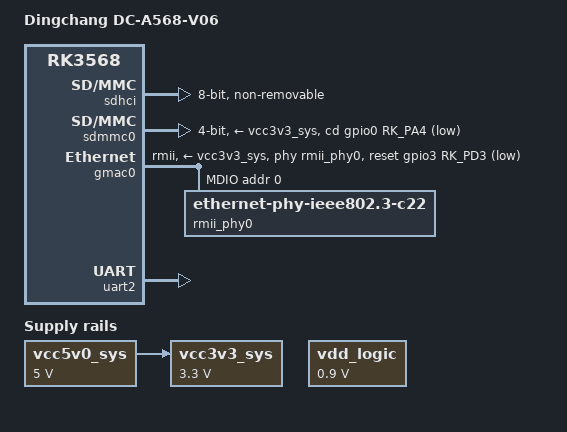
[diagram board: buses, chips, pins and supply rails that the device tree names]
// SPDX-License-Identifier: (GPL-2.0+ OR MIT)
/*
 * Device tree for DC-A568-V06 board
 * Dingchang Electronics RK3568 development board
 */

/dts-v1/;
#include <dt-bindings/gpio/gpio.h>
#include <dt-bindings/pinctrl/rockchip.h>
#include "rockchip/rk3568.dtsi"

/ {
	model = "Dingchang DC-A568-V06";
	compatible = "dingchang,dc-a568", "rockchip,rk3568";

	aliases {
		ethernet0 = &gmac0;
		mmc0 = &sdhci;
		mmc1 = &sdmmc0;
		serial2 = &uart2;
	};

	chosen {
		stdout-path = "serial2:1500000n8";
	};

	/* 5V power rail */
	vcc5v0_sys: vcc5v0-sys {
		compatible = "regulator-fixed";
		regulator-name = "vcc5v0_sys";
		regulator-always-on;
		regulator-boot-on;
		regulator-min-microvolt = <5000000>;
		regulator-max-microvolt = <5000000>;
	};

	/* 3.3V power rail */
	vcc3v3_sys: vcc3v3-sys {
		compatible = "regulator-fixed";
		regulator-name = "vcc3v3_sys";
		regulator-always-on;
		regulator-boot-on;
		regulator-min-microvolt = <3300000>;
		regulator-max-microvolt = <3300000>;
		vin-supply = <&vcc5v0_sys>;
	};

	/* Logic power rail (dummy for now) */
	vdd_logic: vdd-logic {
		compatible = "regulator-fixed";
		regulator-name = "vdd_logic";
		regulator-always-on;
		regulator-boot-on;
		regulator-min-microvolt = <900000>;
		regulator-max-microvolt = <900000>;
	};
};

/* eMMC */
&sdhci {
	bus-width = <8>;
	max-frequency = <200000000>;
	non-removable;
	pinctrl-names = "default";
	pinctrl-0 = <&emmc_bus8 &emmc_clk &emmc_cmd &emmc_datastrobe>;
	status = "okay";
};

/* SD card */
&sdmmc0 {
	bus-width = <4>;
	cap-sd-highspeed;
	cd-gpios = <&gpio0 RK_PA4 GPIO_ACTIVE_LOW>;
	disable-wp;
	pinctrl-names = "default";
	pinctrl-0 = <&sdmmc0_bus4 &sdmmc0_clk &sdmmc0_cmd &sdmmc0_det>;
	sd-uhs-sdr50;
	vmmc-supply = <&vcc3v3_sys>;
	status = "okay";
};

/* Ethernet - RMII mode on gmac0 */
&gmac0 {
	assigned-clocks = <&cru SCLK_GMAC0_RX_TX>, <&cru SCLK_GMAC0>, <&cru CLK_MAC0_OUT>;
	assigned-clock-parents = <&cru SCLK_GMAC0_RGMII_SPEED>;
	assigned-clock-rates = <50000000>, <50000000>, <25000000>;
	clock_in_out = "output";
	/* Override clocks to add clk_mac_ref for RMII */
	clocks = <&cru SCLK_GMAC0>, <&cru SCLK_GMAC0_RX_TX>,
		 <&cru SCLK_GMAC0_RX_TX>, <&cru SCLK_GMAC0>,
		 <&cru CLK_MAC0_REFOUT>, <&cru ACLK_GMAC0>,
		 <&cru PCLK_GMAC0>, <&cru SCLK_GMAC0_RX_TX>,
		 <&cru CLK_GMAC0_PTP_REF>;
	clock-names = "stmmaceth", "mac_clk_rx",
		      "mac_clk_tx", "clk_mac_ref",
		      "clk_mac_refout", "aclk_mac",
		      "pclk_mac", "clk_mac_speed",
		      "ptp_ref";
	phy-handle = <&rmii_phy0>;
	phy-mode = "rmii";
	phy-supply = <&vcc3v3_sys>;
	pinctrl-names = "default";
	pinctrl-0 = <&gmac0_miim
		     &gmac0_rx_bus2
		     &gmac0_tx_bus2
		     &gmac0_clkinout
		     &eth0_pins>;
	snps,reset-gpio = <&gpio3 RK_PD3 GPIO_ACTIVE_LOW>;
	snps,reset-active-low;
	snps,reset-delays-us = <0 20000 100000>;
	tx_delay = <0x3c>;
	rx_delay = <0x2f>;
	status = "okay";

	mdio0 {
		compatible = "snps,dwmac-mdio";
		#address-cells = <1>;
		#size-cells = <0>;

		rmii_phy0: ethernet-phy@0 {
			compatible = "ethernet-phy-ieee802.3-c22";
			reg = <0>;
		};
	};
};

/* Debug UART */
&uart2 {
	status = "okay";
};
